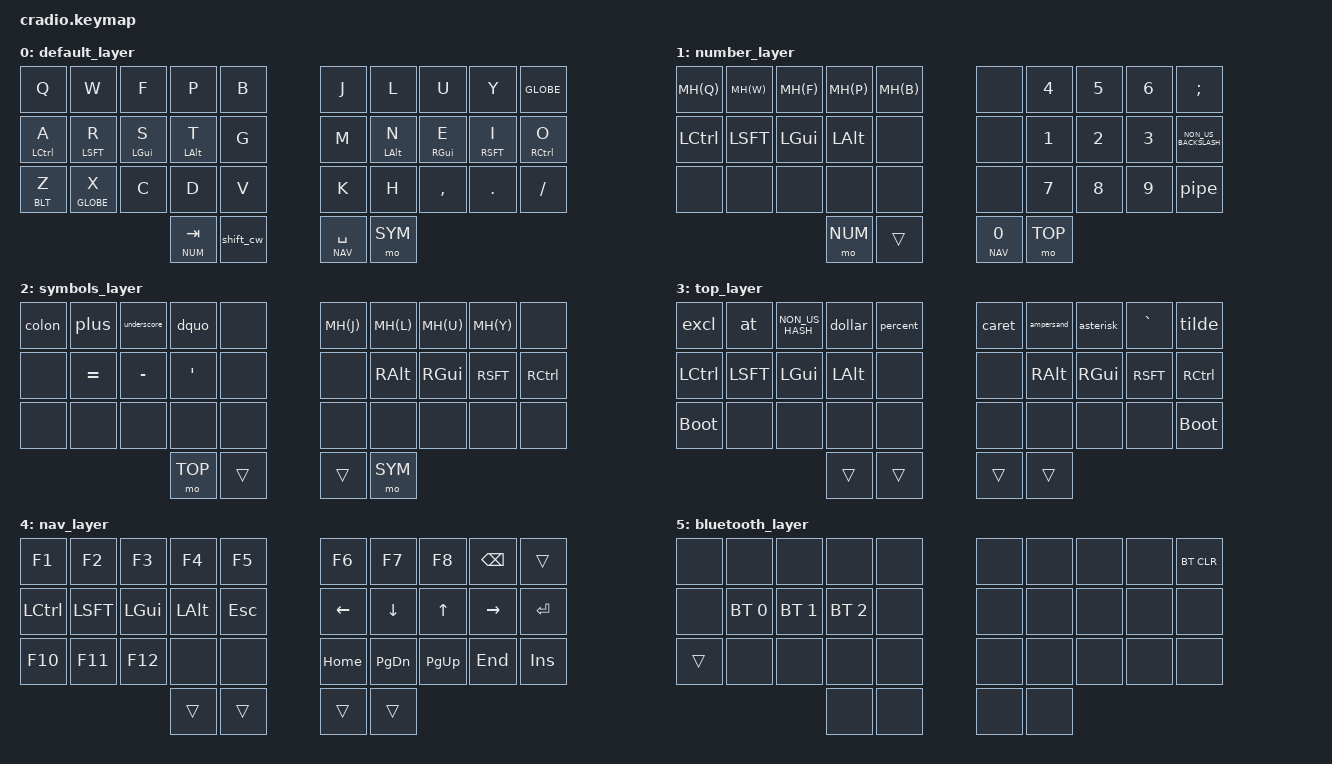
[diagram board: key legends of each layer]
/*
 * Copyright (c) 2020 The ZMK Contributors
 * Copyright (c) 2022 drew@abstracterror.com
 *
 * SPDX-License-Identifier: MIT
 */

#include <behaviors.dtsi>
#include <dt-bindings/zmk/keys.h>
#include <dt-bindings/zmk/bt.h>

// layers
#define DEF 0
#define NUM 1
#define SYM 2
#define TOP 3
#define NAV 4
#define BLT 5

// keys
#define NUBS   NON_US_BACKSLASH
#define NUHS   NON_US_HASH
#define MH(kc) LC(LS(LG(kc)))

// A macro for shifted characters, instead of using ZMK's shifted character
// codes, as a workaround for https://github.com/zmkfirmware/zmk/issues/759.
#define SHIFTED(name, kc) \
    ZMK_MACRO(name, \
        wait-ms = <16>; \
        bindings \
            = <&macro_press &kp LSHFT> \
            , <&macro_tap &kp kc> \
            , <&macro_release &kp LSHFT> \
        ; \
    )

&mt {
    flavor = "tap-preferred";
    tapping_term_ms = <200>;
};

&caps_word {
    continue-list = <UNDERSCORE BACKSPACE>;
};

/ {
    macros {
        // shifted characters based on UK ISO layout
        SHIFTED(excl,       N1)
        SHIFTED(dquo,       N2)
        SHIFTED(pound,      N3)
        SHIFTED(dollar,     N4)
        SHIFTED(percent,    N5)
        SHIFTED(caret,      N6)
        SHIFTED(ampersand,  N7)
        SHIFTED(asterisk,   N8)
        SHIFTED(lpar,       N9)
        SHIFTED(rpar,       N0)
        SHIFTED(underscore, MINUS)
        SHIFTED(plus,       EQUAL)
        SHIFTED(lbrc,       LEFT_BRACKET)
        SHIFTED(rbrc,       RIGHT_BRACKET)
        SHIFTED(colon,      SEMICOLON)
        SHIFTED(at,         SINGLE_QUOTE)
        SHIFTED(tilde,      NON_US_HASH)
        SHIFTED(pipe,       NON_US_BACKSLASH)
    };

    combos {
        compatible = "zmk,combos";
        combo_esc {
            timeout-ms = <60>;
            key-positions = <0 1>;
            bindings = <&kp ESC>;
        };

        combo_left_bracket {
            timeout-ms = <60>;
            key-positions = <1 11>;
            bindings = <&kp LEFT_BRACKET>;
        };

        combo_left_brace {
            timeout-ms = <60>;
            key-positions = <2 12>;
            bindings = <&lbrc>;
        };

        combo_left_paren {
            timeout-ms = <60>;
            key-positions = <3 13>;
            bindings = <&lpar>;
        };

        combo_right_paren {
            timeout-ms = <60>;
            key-positions = <6 16>;
            bindings = <&rpar>;
        };

        combo_right_brace {
            timeout-ms = <60>;
            key-positions = <7 17>;
            bindings = <&rbrc>;
        };

        combo_right_bracket {
            timeout-ms = <60>;
            key-positions = <8 18>;
            bindings = <&kp RIGHT_BRACKET>;
        };
    };

    behaviors {
        shift_cw: shift_caps_word {
            compatible = "zmk,behavior-tap-dance";
            label = "TAP_DANCE_SHIFT_CAPS_WORD";
            #binding-cells = <0>;
            tapping-term-ms = <200>;
            bindings = <&kp LSFT>, <&caps_word>;
        };
    };

    keymap {
        compatible = "zmk,keymap";

        default_layer {
            bindings = <
                &kp Q       &kp W       &kp F       &kp P       &kp B                   &kp J       &kp L       &kp U       &kp Y       &kp GLOBE
                &mt LCTL A  &mt LSFT R  &mt LGUI S  &mt LALT T  &kp G                   &kp M       &mt LALT N  &mt RGUI E  &mt RSFT I  &mt RCTL O
                &lt BLT Z   &mt GLOBE X &kp C       &kp D       &kp V                   &kp K       &kp H       &kp CMMA    &kp DOT     &kp FSLH
                                                    &lt NUM TAB &shift_cw               &lt NAV SPC &mo SYM
            >;
        };

        number_layer {
            bindings = <
                &kp MH(Q)   &kp MH(W)   &kp MH(F)   &kp MH(P)   &kp MH(B)               &none       &kp NUM_4   &kp NUM_5   &kp NUM_6   &kp SCLN
                &kp LCTL    &kp LSFT    &kp LGUI    &kp LALT    &none                   &none       &kp NUM_1   &kp NUM_2   &kp NUM_3   &kp NUBS
                &none       &none       &none       &none       &none                   &none       &kp NUM_7   &kp NUM_8   &kp NUM_9   &pipe
                                                    &mo NUM     &trans                  &lt NAV NUM_0  &mo TOP
            >;
        };

        symbols_layer {
            bindings = <
                &colon      &plus       &underscore &dquo       &none                   &kp MH(J)   &kp MH(L)   &kp MH(U)   &kp MH(Y)   &none
                &none       &kp EQUAL   &kp MINUS   &kp SQT     &none                   &none       &kp RALT    &kp RGUI    &kp RSFT    &kp RCTL
                &none       &none       &none       &none       &none                   &none       &none       &none       &none       &none
                                                    &mo TOP     &trans                  &trans      &mo SYM
            >;
        };

        top_layer {
            bindings = <
                &excl       &at         &kp NUHS    &dollar     &percent                &caret      &ampersand  &asterisk   &kp GRAVE   &tilde
                &kp LCTL    &kp LSFT    &kp LGUI    &kp LALT    &none                   &none       &kp RALT    &kp RGUI    &kp RSFT    &kp RCTL
                &bootloader &none       &none       &none       &none                   &none       &none       &none       &none       &bootloader
                                                    &trans      &trans                  &trans      &trans
            >;
        };

        nav_layer {
            bindings = <
                &kp F1      &kp F2      &kp F3      &kp F4      &kp F5                  &kp F6      &kp F7      &kp F8      &kp BKSP    &trans
                &kp LCTL    &kp LSFT    &kp LGUI    &kp LALT    &kp ESC                 &kp LEFT    &kp DOWN    &kp UP      &kp RIGHT   &kp ENTER
                &kp F10     &kp F11     &kp F12     &none       &none                   &kp HOME    &kp PG_DN   &kp PG_UP   &kp END     &kp INS
                                                    &trans      &trans                  &trans      &trans
            >;
        };

        bluetooth_layer {
            bindings = <
                &none       &none         &none         &none         &none             &none       &none       &none       &none       &bt BT_CLR
                &none       &bt BT_SEL 0  &bt BT_SEL 1  &bt BT_SEL 2  &none             &none       &none       &none       &none       &none
                &trans      &none         &none         &none         &none             &none       &none       &none       &none       &none
                                                        &none         &none             &none       &none
            >;
        };
    };
};
